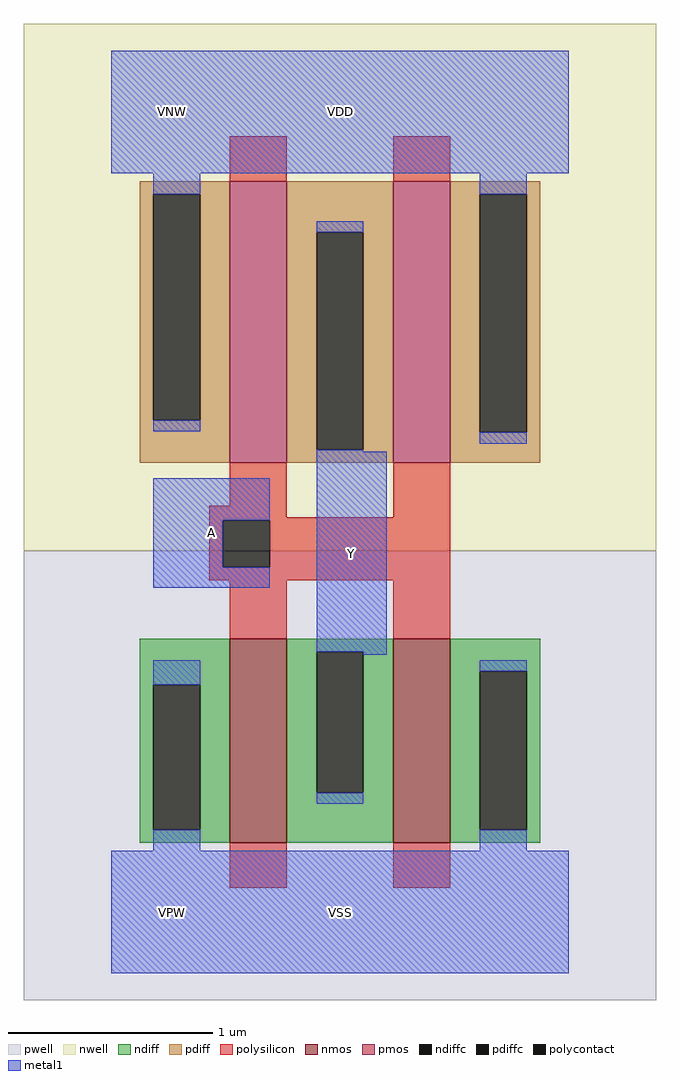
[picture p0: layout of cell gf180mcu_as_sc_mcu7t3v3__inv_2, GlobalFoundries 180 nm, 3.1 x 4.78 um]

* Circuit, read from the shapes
.subckt gf180mcu_as_sc_mcu7t3v3__inv_2 VDD VNW VPW VSS Y A
XM1 Y A VSS VPW nfet_03v3 w=1u l=0.28u m=2
XM2 Y A VDD VNW pfet_03v3 w=1.38u l=0.28u m=2
.ends

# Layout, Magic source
magic
tech gf180mcuD
magscale 1 10
<< nwell >>
rect -86 354 534 870
<< pwell >>
rect -86 -86 534 354
<< nmos >>
rect 116 68 172 268
rect 276 68 332 268
<< pmos >>
rect 116 440 172 716
rect 276 440 332 716
<< ndiff >>
rect 28 223 116 268
rect 28 81 41 223
rect 87 81 116 223
rect 28 68 116 81
rect 172 255 276 268
rect 172 117 201 255
rect 247 117 276 255
rect 172 68 276 117
rect 332 236 420 268
rect 332 81 361 236
rect 407 81 420 236
rect 332 68 420 81
<< pdiff >>
rect 28 703 116 716
rect 28 482 41 703
rect 87 482 116 703
rect 28 440 116 482
rect 172 666 276 716
rect 172 453 201 666
rect 247 453 276 666
rect 172 440 276 453
rect 332 703 420 716
rect 332 470 361 703
rect 407 470 420 703
rect 332 440 420 470
<< ndiffc >>
rect 41 81 87 223
rect 201 117 247 255
rect 361 81 407 236
<< pdiffc >>
rect 41 482 87 703
rect 201 453 247 666
rect 361 470 407 703
<< polysilicon >>
rect 116 716 172 760
rect 276 716 332 760
rect 116 398 172 440
rect 96 387 172 398
rect 276 387 332 440
rect 96 384 332 387
rect 96 338 109 384
rect 155 338 332 384
rect 96 325 332 338
rect 116 268 172 325
rect 276 268 332 325
rect 116 24 172 68
rect 276 24 332 68
<< polycontact >>
rect 109 338 155 384
<< metal1 >>
rect 0 724 448 844
rect 41 703 87 724
rect 361 703 407 724
rect 41 471 87 482
rect 201 666 247 677
rect 361 459 407 470
rect 201 451 247 453
rect 41 384 155 425
rect 41 338 109 384
rect 41 318 155 338
rect 201 255 270 451
rect 41 223 87 247
rect 247 252 270 255
rect 201 106 247 117
rect 361 236 407 247
rect 41 60 87 81
rect 361 60 407 81
rect 0 -60 448 60
<< labels >>
flabel metal1 s 0 724 448 844 0 FreeSans 400 0 0 0 VDD
port 1 nsew power bidirectional abutment
flabel metal1 s 0 -60 448 60 0 FreeSans 400 0 0 0 VSS
port 4 nsew ground bidirectional abutment
flabel nwell s 10 734 110 834 0 FreeSans 400 0 0 0 VNW
port 2 nsew power bidirectional
flabel pwell s 10 -50 110 50 0 FreeSans 400 0 0 0 VPW
port 3 nsew ground bidirectional
flabel metal1 201 252 270 451 0 FreeSans 200 0 0 0 Y
port 5 nsew signal output
flabel metal1 41 318 155 425 0 FreeSans 200 0 0 0 A
port 6 nsew signal input
<< properties >>
string FIXED_BBOX 0 0 448 784
string LEFclass CORE
string LEFsite unithd
string LEFsymmetry X Y
string MASKHINTS_NPLUS -16 -46 464 354
string MASKHINTS_PPLUS -16 354 464 830
<< end >>
